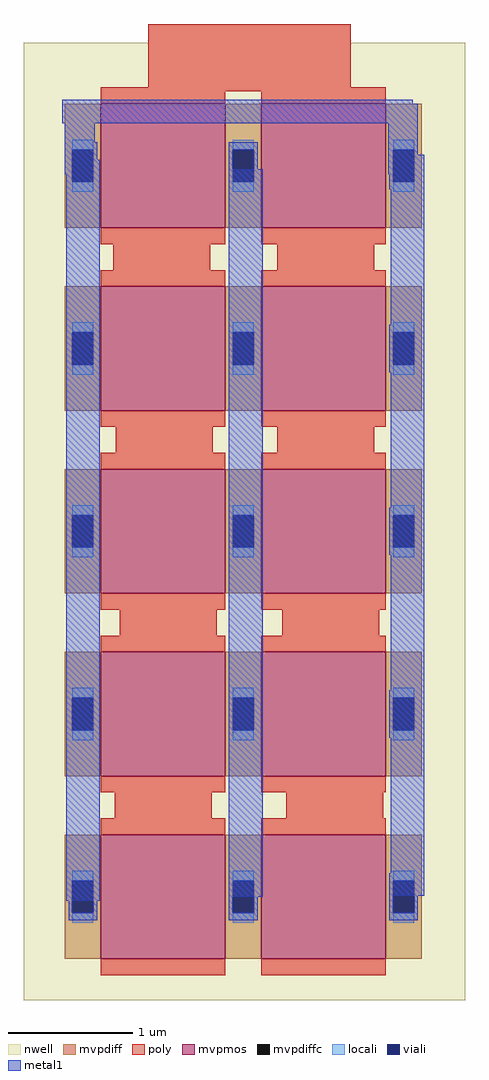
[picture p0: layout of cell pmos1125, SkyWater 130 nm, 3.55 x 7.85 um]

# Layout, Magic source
magic
tech sky130A
magscale 1 2
<< nwell >>
rect 170 1536 496 1566
rect -30 -4 680 1536
<< poly >>
rect 170 1458 496 1566
rect 114 1164 270 1230
rect 378 1154 534 1220
rect 118 866 274 932
rect 378 858 534 924
rect 124 568 280 634
rect 386 568 542 634
rect 116 268 272 334
rect 392 272 548 338
<< metal1 >>
rect 32 1438 596 1444
rect 32 1406 604 1438
rect 36 1348 84 1406
rect 556 1356 604 1406
rect 36 1324 92 1348
rect 38 156 92 1324
rect 300 162 354 1332
rect 556 1324 614 1356
rect 560 164 614 1324
use sky130_fd_pr__pfet_g5v0d10v5_FTTAN3  sky130_fd_pr__pfet_g5v0d10v5_FTTAN3_0
transform 1 0 323 0 1 750
box -353 -754 353 754
<< end >>

# cell sky130_fd_pr__pfet_g5v0d10v5_FTTAN3: kit device sky130_fd_pr__pfet_g5v0d10v5, w 1 l 1 m 5 nf 2 diffcov 30 polycov 100 guard 0 glc 0 grc 0 gtc 0 gbc 0 tbcov 100 rlcov 100 topc 0 botc 0 poverlap 0 doverlap 1 lmin 0.50 wmin 0.42 compatible {sky130_fd_pr__pfet_01v8 sky130_fd_pr__pfet_01v8_lvt sky130_fd_pr__pfet_01v8_hvt sky130_fd_pr__pfet_g5v0d10v5} full_metal 0 viasrc 30 viadrn 30 viagate 100 viagb 0 viagr 0 viagl 0 viagt 0
